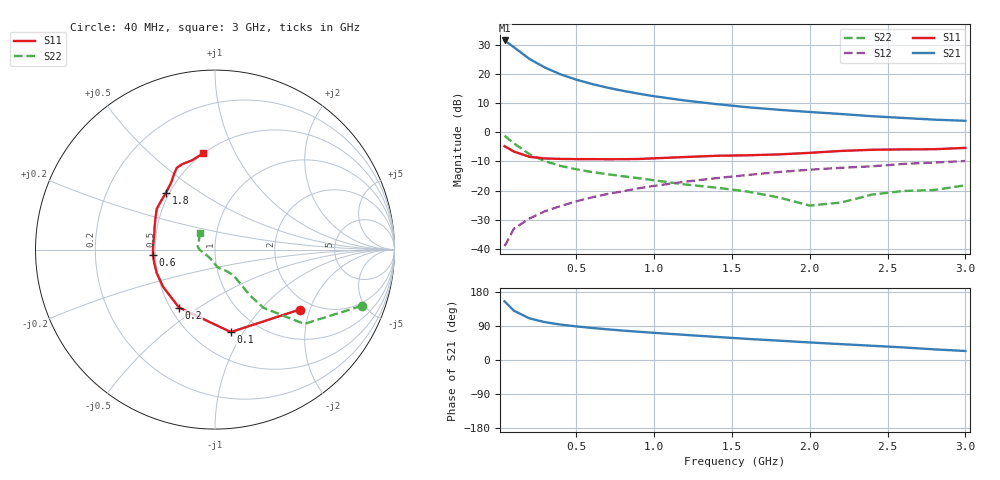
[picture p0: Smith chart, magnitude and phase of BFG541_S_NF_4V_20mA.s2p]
! Filename:  BFG541C.S2P  Version:  3.0
! Philips part #:BFG541  Date: Feb 1992
! Bias condition: Vce=4V, Ic=20mA
#  MHz  S  MA  R  50
! Freq  S11  S21  S12  S22  !GUM [dB]
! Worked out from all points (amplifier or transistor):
!   21 points, 40 MHz to 3 GHz, reference 50 ohm
!   highest |S21| = 31.7 dB at 40 MHz (marker M1)
!   |S21| within 3 dB of that: start of sweep to 116 MHz
!   unconditionally stable (mu >= 1): 588.2 MHz to 2.996 GHz
!   at 300 MHz: K = 0.86, MSG = 24.7 dB, |S12| = -27.1 dB
!   at 1 GHz: K = 1.05, MAG = 14.0 dB, |S12| = -18.4 dB
!   at 3 GHz: K = 1.00, MSG = 6.9 dB, |S12| = -9.8 dB
!   lowest NFmin = 1.50 dB at 900 MHz
!   S11 on the Smith chart (normalised r, x): 40 MHz: 1.70, -1.71; 100 MHz: 0.75, -0.88; 200 MHz: 0.55, -0.42; 600 MHz: 0.49, -0.03; 1.8 GHz: 0.48, +0.37; 3 GHz: 0.50, +0.76
40  0.578 -35.3  38.34 154.7  0.011 75.1  0.875 -21.0
100  0.468 -79.1  29.22 130.0  0.022 64.9  0.647 -39.8
200  0.38 -121.9  18.42 109.8  0.033 62.7  0.422 -50.2
300  0.356 -144.2  13.04 99.8  0.044 64.8  0.319 -52.7
400  0.35 -158.1  9.996 93.4  0.054 66.9  0.265 -53.1
500  0.347 -167.7  8.107 88.7  0.065 67.9  0.232 -53.4
600  0.347 -175.3  6.834 84.6  0.076 68.6  0.208 -53.7
700  0.345 178.0  5.906 81.0  0.087 68.7  0.191 -54.3
800  0.346 171.7  5.209 77.6  0.097 68.5  0.176 -54.9
900  0.349 165.8  4.654 74.6  0.109 68.1  0.163 -56.3
1000  0.358 160.3  4.201 71.7  0.12 67.5  0.15 -58.4
1200  0.377 151.5  3.54 66.3  0.142 66.1  0.127 -64.7
1400  0.396 145.0  3.076 60.9  0.163 64.1  0.112 -74.0
1600  0.404 138.4  2.714 55.7  0.185 62.7  0.096 -82.8
1800  0.418 130.9  2.455 51.1  0.208 59.6  0.076 -93.7
2000  0.445 123.4  2.248 46.3  0.228 57.7  0.055 -120.2
2200  0.48 118.3  2.076 41.9  0.246 55.2  0.062 -160.2
2400  0.503 115.0  1.902 37.6  0.261 53.8  0.085 -178.5
2600  0.51 110.9  1.776 33.2  0.287 50.5  0.098 169.6
2800  0.514 104.3  1.66 28.1  0.303 46.5  0.102 152.6
3000  0.542 96.8  1.585 23.8  0.322 44.7  0.123 132.1
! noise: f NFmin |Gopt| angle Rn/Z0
900  1.5  0.33  179  0.09
2000  2.2  0.533  -140  0.19
